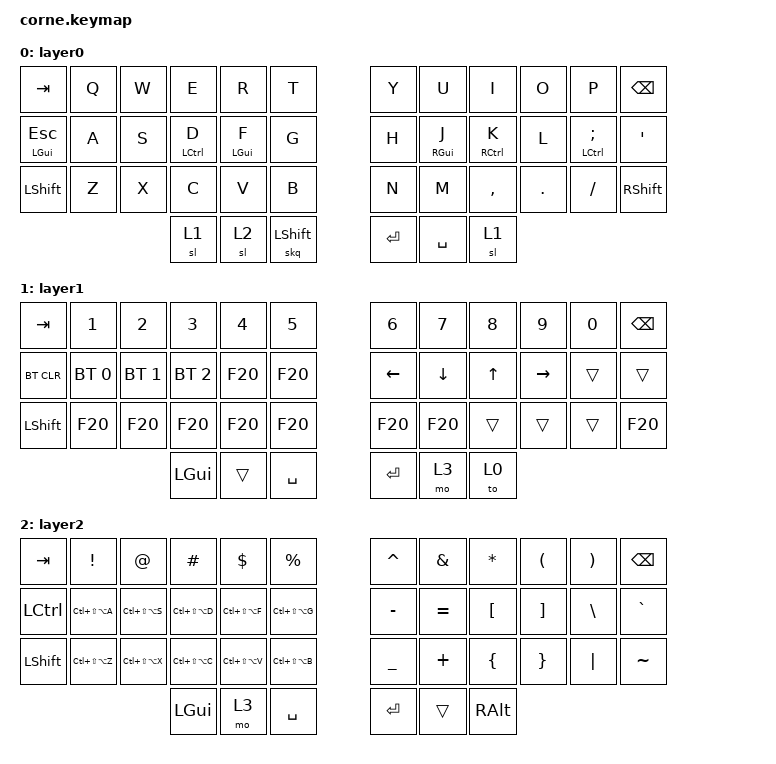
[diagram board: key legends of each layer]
/*
 * Copyright (c) 2020 The ZMK Contributors
 *
 * SPDX-License-Identifier: MIT
 */

#include <behaviors.dtsi>
#include <dt-bindings/zmk/keys.h>
#include <dt-bindings/zmk/bt.h>

/ {
  behaviors {
    am: alpha_mods {
        compatible = "zmk,behavior-hold-tap";
        label = "ALPHA_MT";
        #binding-cells = <2>;
        tapping-term-ms = <250>;
        quick-tap-ms = <150>;
        flavor = "tap-preferred";
        bindings = <&kp>, <&kp>;
    };
    skq: sticky_key_quick_release {
      compatible = "zmk,behavior-sticky-key";
      label = "STICKY_KEY_QUICK_RELEASE";
      #binding-cells = <1>;
      bindings = <&kp>;
      release-after-ms = <1000>;
      quick-release;
    };
  };

  keymap {
    compatible = "zmk,keymap";
    layer0 {
      bindings = <
      &kp TAB             &kp Q &kp W &kp E               &kp R          &kp T                  &kp Y     &kp U &kp I     &kp O                &kp P                      &kp BKSP
      &mt LEFT_GUI ESCAPE &kp A &kp S &am LEFT_CONTROL D  &am LEFT_GUI F &kp G                  &kp H     &am RIGHT_GUI J &am RIGHT_CONTROL K  &kp L     &mt LEFT_CONTROL SEMICOLON &kp SINGLE_QUOTE
      &kp LEFT_SHIFT      &kp Z &kp X &kp C               &kp V          &kp B                  &kp N     &kp M &kp COMMA &kp DOT              &kp SLASH                  &kp RIGHT_SHIFT
                                      &sl 1               &sl 2          &skq LSHIFT            &kp ENTER &kp SPACE &sl 1
      >;
    };layer1 {
      bindings = <
      &kp TAB          &kp N1       &kp N2       &kp N3       &kp N4  &kp N5  &kp N6   &kp N7   &kp N8 &kp N9    &kp N0 &kp BACKSPACE
      &bt BT_CLR       &bt BT_SEL 0 &bt BT_SEL 1 &bt BT_SEL 2 &kp F20 &kp F20 &kp LEFT &kp DOWN &kp UP &kp RIGHT &trans &trans
      &kp LEFT_SHIFT   &kp F20      &kp F20      &kp F20      &kp F20 &kp F20 &kp F20  &kp F20  &trans &trans    &trans &kp F20
                                    &kp LEFT_GUI &trans &kp SPACE    &kp ENTER    &mo 3   &to 0
      >;
    };layer2 {
      bindings = <
      &kp TAB          &kp EXCL           &kp AT             &kp HASH           &kp DLLR          &kp PRCNT         &kp CARET &kp AMPS      &kp ASTRK        &kp LPAR          &kp RPAR      &kp BACKSPACE
      &kp LEFT_CONTROL &kp LC(LS(LA(A)))  &kp LC(LS(LA(S)))  &kp LC(LS(LA(D)))  &kp LC(LS(LA(F))) &kp LC(LS(LA(G))) &kp MINUS &kp EQUAL     &kp LEFT_BRACKET &kp RIGHT_BRACKET &kp BACKSLASH &kp GRAVE
      &kp LEFT_SHIFT   &kp LC(LS(LA(Z)))  &kp LC(LS(LA(X)))  &kp LC(LS(LA(C)))  &kp LC(LS(LA(V))) &kp LC(LS(LA(B))) &kp UNDER &kp PLUS      &kp LBRC         &kp RBRC          &kp PIPE      &kp TILDE
                                          &kp LEFT_GUI       &mo 3              &kp SPACE         &kp ENTER         &trans    &kp RIGHT_ALT
      >;
    };
  };
};
